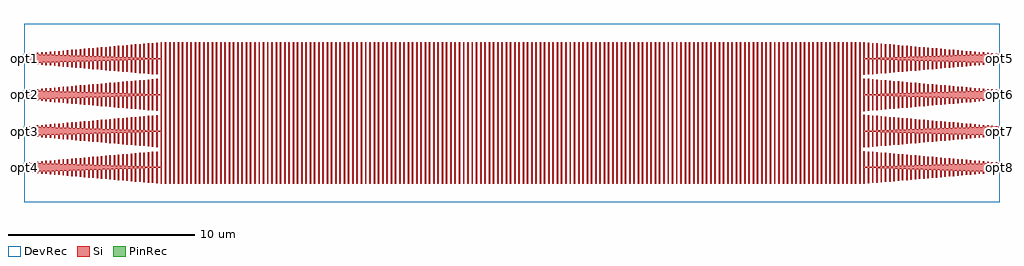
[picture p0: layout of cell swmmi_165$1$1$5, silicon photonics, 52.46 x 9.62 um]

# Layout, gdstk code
import gdstk
lib = gdstk.Library(unit=1e-6, precision=1e-09)
def R(c, l, rs):  # rectangles x0, y0, x1, y1
    for r in rs: c.add(gdstk.rectangle(r[:2], r[2:], *l))
def P(c, l, *ps):  # polygons
    for p in ps: c.add(gdstk.Polygon(p, *l))
Si = (1, 0)
PinRec = (1, 10)
DevRec = (68, 0)

tapered_rung_13b2f8a4_2_ = lib.new_cell('tapered_rung_13b2f8a4$2$1$5')
R(tapered_rung_13b2f8a4_2_, Si, [(0,-0.01,0.079,7.61)])

straight_4dba03ce_2_1_5 = lib.new_cell('straight_4dba03ce$2$1$5')
R(straight_4dba03ce_2_1_5, Si, [(0,-0.875,0.079,0.875)])

straight_02d3a096_2_1_5 = lib.new_cell('straight_02d3a096$2$1$5')
R(straight_02d3a096_2_1_5, Si, [(0,-0.855,0.079,0.855)])

straight_fb1c9b6e_2_1_5 = lib.new_cell('straight_fb1c9b6e$2$1$5')
R(straight_fb1c9b6e_2_1_5, Si, [(0,-0.836,0.079,0.836)])

straight_5bfd06b2_2_1_5 = lib.new_cell('straight_5bfd06b2$2$1$5')
R(straight_5bfd06b2_2_1_5, Si, [(0,-0.816,0.079,0.816)])

straight_1d78e075_2_1_5 = lib.new_cell('straight_1d78e075$2$1$5')
R(straight_1d78e075_2_1_5, Si, [(0,-0.797,0.079,0.797)])

straight_4a068241_2_1_5 = lib.new_cell('straight_4a068241$2$1$5')
R(straight_4a068241_2_1_5, Si, [(0,-0.777,0.079,0.777)])

straight_e533b238_2_1_5 = lib.new_cell('straight_e533b238$2$1$5')
R(straight_e533b238_2_1_5, Si, [(0,-0.758,0.079,0.758)])

straight_9c4e17f1_2_1_5 = lib.new_cell('straight_9c4e17f1$2$1$5')
R(straight_9c4e17f1_2_1_5, Si, [(0,-0.738,0.079,0.738)])

straight_84e6302c_2_1_5 = lib.new_cell('straight_84e6302c$2$1$5')
R(straight_84e6302c_2_1_5, Si, [(0,-0.719,0.079,0.719)])

straight_f7d1fc65_2_1_5 = lib.new_cell('straight_f7d1fc65$2$1$5')
R(straight_f7d1fc65_2_1_5, Si, [(0,-0.699,0.079,0.699)])

straight_6d488178_2_1_5 = lib.new_cell('straight_6d488178$2$1$5')
R(straight_6d488178_2_1_5, Si, [(0,-0.68,0.079,0.68)])

straight_5ea3cd06_2_1_5 = lib.new_cell('straight_5ea3cd06$2$1$5')
R(straight_5ea3cd06_2_1_5, Si, [(0,-0.66,0.079,0.66)])

straight_2c39bc87_2_1_5 = lib.new_cell('straight_2c39bc87$2$1$5')
R(straight_2c39bc87_2_1_5, Si, [(0,-0.641,0.079,0.641)])

straight_09bb2c49_2_1_5 = lib.new_cell('straight_09bb2c49$2$1$5')
R(straight_09bb2c49_2_1_5, Si, [(0,-0.621,0.079,0.621)])

straight_8f11f37e_2_1_5 = lib.new_cell('straight_8f11f37e$2$1$5')
R(straight_8f11f37e_2_1_5, Si, [(0,-0.602,0.079,0.602)])

straight_4b066b60_2_1_5 = lib.new_cell('straight_4b066b60$2$1$5')
R(straight_4b066b60_2_1_5, Si, [(0,-0.582,0.079,0.582)])

straight_b793d578_2_1_5 = lib.new_cell('straight_b793d578$2$1$5')
R(straight_b793d578_2_1_5, Si, [(0,-0.562,0.079,0.562)])

straight_ebca209d_2_1_5 = lib.new_cell('straight_ebca209d$2$1$5')
R(straight_ebca209d_2_1_5, Si, [(0,-0.543,0.079,0.543)])

straight_5dc137b4_2_1_5 = lib.new_cell('straight_5dc137b4$2$1$5')
R(straight_5dc137b4_2_1_5, Si, [(0,-0.523,0.079,0.523)])

straight_2d9b7ab2_2_1_5 = lib.new_cell('straight_2d9b7ab2$2$1$5')
R(straight_2d9b7ab2_2_1_5, Si, [(0,-0.504,0.079,0.504)])

straight_e69af71d_2_1_5 = lib.new_cell('straight_e69af71d$2$1$5')
R(straight_e69af71d_2_1_5, Si, [(0,-0.484,0.079,0.484)])

straight_17e9a650_2_1_5 = lib.new_cell('straight_17e9a650$2$1$5')
R(straight_17e9a650_2_1_5, Si, [(0,-0.465,0.079,0.465)])

straight_4a13c587_2_1_5 = lib.new_cell('straight_4a13c587$2$1$5')
R(straight_4a13c587_2_1_5, Si, [(0,-0.445,0.079,0.445)])

straight_dc194b24_2_1_5 = lib.new_cell('straight_dc194b24$2$1$5')
R(straight_dc194b24_2_1_5, Si, [(0,-0.426,0.079,0.426)])

straight_168b5256_2_1_5 = lib.new_cell('straight_168b5256$2$1$5')
R(straight_168b5256_2_1_5, Si, [(0,-0.406,0.079,0.406)])

straight_95e26ac4_2_1_5 = lib.new_cell('straight_95e26ac4$2$1$5')
R(straight_95e26ac4_2_1_5, Si, [(0,-0.387,0.079,0.387)])

straight_c8e52362_2_1_5 = lib.new_cell('straight_c8e52362$2$1$5')
R(straight_c8e52362_2_1_5, Si, [(0,-0.367,0.079,0.367)])

straight_d18412fd_2_1_5 = lib.new_cell('straight_d18412fd$2$1$5')
R(straight_d18412fd_2_1_5, Si, [(0,-0.348,0.079,0.348)])

straight_ae37b892_2_1_5 = lib.new_cell('straight_ae37b892$2$1$5')
R(straight_ae37b892_2_1_5, Si, [(0,-0.328,0.079,0.328)])

straight_69e23213_2_1_5 = lib.new_cell('straight_69e23213$2$1$5')
R(straight_69e23213_2_1_5, Si, [(0,-0.309,0.079,0.309)])

straight_e8bbdc83_2_1_5 = lib.new_cell('straight_e8bbdc83$2$1$5')
R(straight_e8bbdc83_2_1_5, Si, [(0,-0.289,0.079,0.289)])

straight_58eb0652_2_1_5 = lib.new_cell('straight_58eb0652$2$1$5')
R(straight_58eb0652_2_1_5, Si, [(0,-0.27,0.079,0.27)])

straight_2cb6a0ad_2_1_5 = lib.new_cell('straight_2cb6a0ad$2$1$5')
R(straight_2cb6a0ad_2_1_5, Si, [(0,-0.25,0.079,0.25)])

straight_a7162a93_2_1_5 = lib.new_cell('straight_a7162a93$2$1$5')
R(straight_a7162a93_2_1_5, Si, [(0,-0.387,0.079,0.387)])

swmmi_165_1_1_5 = lib.new_cell('swmmi_165$1$1$5')
P(swmmi_165_1_1_5, Si, [(0,-3.175),(0,-2.675),(7.328,-2.895),(7.328,-2.955)],
  [(0,-1.225),(0,-0.725),(7.328,-0.945),(7.328,-1.005)],
  [(0,0.725),(0,1.225),(7.328,1.005),(7.328,0.945)],
  [(0,2.675),(0,3.175),(7.328,2.955),(7.328,2.895)],
  [(52.441,-3.175),(45.113,-2.955),(45.113,-2.895),(52.441,-2.675)],
  [(52.441,-1.225),(45.113,-1.005),(45.113,-0.945),(52.441,-0.725)],
  [(52.441,0.725),(45.113,0.945),(45.113,1.005),(52.441,1.225)],
  [(52.441,2.675),(45.113,2.895),(45.113,2.955),(52.441,3.175)])
R(swmmi_165_1_1_5, DevRec, [(0,-4.81,52.441,4.81)])
swmmi_165_1_1_5.add(gdstk.FlexPath([(0.01,2.925),(-0.01,2.925)], 0.5, ends="flush", simple_path=True, layer=1, datatype=10))  # PinRec
swmmi_165_1_1_5.add(gdstk.FlexPath([(0.01,0.975),(-0.01,0.975)], 0.5, ends="flush", simple_path=True, layer=1, datatype=10))  # PinRec
swmmi_165_1_1_5.add(gdstk.FlexPath([(0.01,-0.975),(-0.01,-0.975)], 0.5, ends="flush", simple_path=True, layer=1, datatype=10))  # PinRec
swmmi_165_1_1_5.add(gdstk.FlexPath([(0.01,-2.925),(-0.01,-2.925)], 0.5, ends="flush", simple_path=True, layer=1, datatype=10))  # PinRec
swmmi_165_1_1_5.add(gdstk.FlexPath([(52.431,2.925),(52.451,2.925)], 0.5, ends="flush", simple_path=True, layer=1, datatype=10))  # PinRec
swmmi_165_1_1_5.add(gdstk.FlexPath([(52.431,0.975),(52.451,0.975)], 0.5, ends="flush", simple_path=True, layer=1, datatype=10))  # PinRec
swmmi_165_1_1_5.add(gdstk.FlexPath([(52.431,-0.975),(52.451,-0.975)], 0.5, ends="flush", simple_path=True, layer=1, datatype=10))  # PinRec
swmmi_165_1_1_5.add(gdstk.FlexPath([(52.431,-2.925),(52.451,-2.925)], 0.5, ends="flush", simple_path=True, layer=1, datatype=10))  # PinRec
swmmi_165_1_1_5.add(gdstk.Reference(tapered_rung_13b2f8a4_2_, (26.106,-3.8)))
swmmi_165_1_1_5.add(gdstk.Reference(tapered_rung_13b2f8a4_2_, (26.335,-3.8)))
swmmi_165_1_1_5.add(gdstk.Reference(tapered_rung_13b2f8a4_2_, (26.564,-3.8)))
swmmi_165_1_1_5.add(gdstk.Reference(tapered_rung_13b2f8a4_2_, (26.793,-3.8)))
swmmi_165_1_1_5.add(gdstk.Reference(tapered_rung_13b2f8a4_2_, (27.022,-3.8)))
swmmi_165_1_1_5.add(gdstk.Reference(tapered_rung_13b2f8a4_2_, (27.251,-3.8)))
swmmi_165_1_1_5.add(gdstk.Reference(tapered_rung_13b2f8a4_2_, (27.48,-3.8)))
swmmi_165_1_1_5.add(gdstk.Reference(tapered_rung_13b2f8a4_2_, (27.709,-3.8)))
swmmi_165_1_1_5.add(gdstk.Reference(tapered_rung_13b2f8a4_2_, (27.938,-3.8)))
swmmi_165_1_1_5.add(gdstk.Reference(tapered_rung_13b2f8a4_2_, (28.167,-3.8)))
swmmi_165_1_1_5.add(gdstk.Reference(tapered_rung_13b2f8a4_2_, (28.396,-3.8)))
swmmi_165_1_1_5.add(gdstk.Reference(tapered_rung_13b2f8a4_2_, (28.625,-3.8)))
swmmi_165_1_1_5.add(gdstk.Reference(tapered_rung_13b2f8a4_2_, (28.854,-3.8)))
swmmi_165_1_1_5.add(gdstk.Reference(tapered_rung_13b2f8a4_2_, (29.083,-3.8)))
swmmi_165_1_1_5.add(gdstk.Reference(tapered_rung_13b2f8a4_2_, (29.312,-3.8)))
swmmi_165_1_1_5.add(gdstk.Reference(tapered_rung_13b2f8a4_2_, (29.541,-3.8)))
swmmi_165_1_1_5.add(gdstk.Reference(tapered_rung_13b2f8a4_2_, (29.77,-3.8)))
swmmi_165_1_1_5.add(gdstk.Reference(tapered_rung_13b2f8a4_2_, (29.999,-3.8)))
swmmi_165_1_1_5.add(gdstk.Reference(tapered_rung_13b2f8a4_2_, (30.228,-3.8)))
swmmi_165_1_1_5.add(gdstk.Reference(tapered_rung_13b2f8a4_2_, (30.457,-3.8)))
swmmi_165_1_1_5.add(gdstk.Reference(tapered_rung_13b2f8a4_2_, (30.686,-3.8)))
swmmi_165_1_1_5.add(gdstk.Reference(tapered_rung_13b2f8a4_2_, (30.915,-3.8)))
swmmi_165_1_1_5.add(gdstk.Reference(tapered_rung_13b2f8a4_2_, (31.144,-3.8)))
swmmi_165_1_1_5.add(gdstk.Reference(tapered_rung_13b2f8a4_2_, (31.373,-3.8)))
swmmi_165_1_1_5.add(gdstk.Reference(tapered_rung_13b2f8a4_2_, (31.602,-3.8)))
swmmi_165_1_1_5.add(gdstk.Reference(tapered_rung_13b2f8a4_2_, (31.831,-3.8)))
swmmi_165_1_1_5.add(gdstk.Reference(tapered_rung_13b2f8a4_2_, (32.06,-3.8)))
swmmi_165_1_1_5.add(gdstk.Reference(tapered_rung_13b2f8a4_2_, (32.289,-3.8)))
swmmi_165_1_1_5.add(gdstk.Reference(tapered_rung_13b2f8a4_2_, (32.518,-3.8)))
swmmi_165_1_1_5.add(gdstk.Reference(tapered_rung_13b2f8a4_2_, (32.747,-3.8)))
swmmi_165_1_1_5.add(gdstk.Reference(tapered_rung_13b2f8a4_2_, (32.976,-3.8)))
swmmi_165_1_1_5.add(gdstk.Reference(tapered_rung_13b2f8a4_2_, (33.205,-3.8)))
swmmi_165_1_1_5.add(gdstk.Reference(tapered_rung_13b2f8a4_2_, (33.434,-3.8)))
swmmi_165_1_1_5.add(gdstk.Reference(tapered_rung_13b2f8a4_2_, (33.663,-3.8)))
swmmi_165_1_1_5.add(gdstk.Reference(tapered_rung_13b2f8a4_2_, (33.892,-3.8)))
swmmi_165_1_1_5.add(gdstk.Reference(tapered_rung_13b2f8a4_2_, (34.121,-3.8)))
swmmi_165_1_1_5.add(gdstk.Reference(tapered_rung_13b2f8a4_2_, (34.35,-3.8)))
swmmi_165_1_1_5.add(gdstk.Reference(tapered_rung_13b2f8a4_2_, (34.579,-3.8)))
swmmi_165_1_1_5.add(gdstk.Reference(tapered_rung_13b2f8a4_2_, (34.808,-3.8)))
swmmi_165_1_1_5.add(gdstk.Reference(tapered_rung_13b2f8a4_2_, (35.037,-3.8)))
swmmi_165_1_1_5.add(gdstk.Reference(tapered_rung_13b2f8a4_2_, (35.266,-3.8)))
swmmi_165_1_1_5.add(gdstk.Reference(tapered_rung_13b2f8a4_2_, (35.495,-3.8)))
swmmi_165_1_1_5.add(gdstk.Reference(tapered_rung_13b2f8a4_2_, (35.724,-3.8)))
swmmi_165_1_1_5.add(gdstk.Reference(tapered_rung_13b2f8a4_2_, (35.953,-3.8)))
swmmi_165_1_1_5.add(gdstk.Reference(tapered_rung_13b2f8a4_2_, (36.182,-3.8)))
swmmi_165_1_1_5.add(gdstk.Reference(tapered_rung_13b2f8a4_2_, (36.411,-3.8)))
swmmi_165_1_1_5.add(gdstk.Reference(tapered_rung_13b2f8a4_2_, (36.64,-3.8)))
swmmi_165_1_1_5.add(gdstk.Reference(tapered_rung_13b2f8a4_2_, (36.869,-3.8)))
swmmi_165_1_1_5.add(gdstk.Reference(tapered_rung_13b2f8a4_2_, (37.098,-3.8)))
swmmi_165_1_1_5.add(gdstk.Reference(tapered_rung_13b2f8a4_2_, (37.327,-3.8)))
swmmi_165_1_1_5.add(gdstk.Reference(tapered_rung_13b2f8a4_2_, (37.556,-3.8)))
swmmi_165_1_1_5.add(gdstk.Reference(tapered_rung_13b2f8a4_2_, (37.785,-3.8)))
swmmi_165_1_1_5.add(gdstk.Reference(tapered_rung_13b2f8a4_2_, (38.014,-3.8)))
swmmi_165_1_1_5.add(gdstk.Reference(tapered_rung_13b2f8a4_2_, (38.243,-3.8)))
swmmi_165_1_1_5.add(gdstk.Reference(tapered_rung_13b2f8a4_2_, (38.472,-3.8)))
swmmi_165_1_1_5.add(gdstk.Reference(tapered_rung_13b2f8a4_2_, (38.701,-3.8)))
swmmi_165_1_1_5.add(gdstk.Reference(tapered_rung_13b2f8a4_2_, (38.93,-3.8)))
swmmi_165_1_1_5.add(gdstk.Reference(tapered_rung_13b2f8a4_2_, (39.159,-3.8)))
swmmi_165_1_1_5.add(gdstk.Reference(tapered_rung_13b2f8a4_2_, (39.388,-3.8)))
swmmi_165_1_1_5.add(gdstk.Reference(tapered_rung_13b2f8a4_2_, (39.617,-3.8)))
swmmi_165_1_1_5.add(gdstk.Reference(tapered_rung_13b2f8a4_2_, (39.846,-3.8)))
swmmi_165_1_1_5.add(gdstk.Reference(tapered_rung_13b2f8a4_2_, (40.075,-3.8)))
swmmi_165_1_1_5.add(gdstk.Reference(tapered_rung_13b2f8a4_2_, (40.304,-3.8)))
swmmi_165_1_1_5.add(gdstk.Reference(tapered_rung_13b2f8a4_2_, (40.533,-3.8)))
swmmi_165_1_1_5.add(gdstk.Reference(tapered_rung_13b2f8a4_2_, (40.762,-3.8)))
swmmi_165_1_1_5.add(gdstk.Reference(tapered_rung_13b2f8a4_2_, (40.991,-3.8)))
swmmi_165_1_1_5.add(gdstk.Reference(tapered_rung_13b2f8a4_2_, (41.22,-3.8)))
swmmi_165_1_1_5.add(gdstk.Reference(tapered_rung_13b2f8a4_2_, (41.449,-3.8)))
swmmi_165_1_1_5.add(gdstk.Reference(tapered_rung_13b2f8a4_2_, (41.678,-3.8)))
swmmi_165_1_1_5.add(gdstk.Reference(tapered_rung_13b2f8a4_2_, (41.907,-3.8)))
swmmi_165_1_1_5.add(gdstk.Reference(tapered_rung_13b2f8a4_2_, (42.136,-3.8)))
swmmi_165_1_1_5.add(gdstk.Reference(tapered_rung_13b2f8a4_2_, (42.365,-3.8)))
swmmi_165_1_1_5.add(gdstk.Reference(tapered_rung_13b2f8a4_2_, (42.594,-3.8)))
swmmi_165_1_1_5.add(gdstk.Reference(tapered_rung_13b2f8a4_2_, (42.823,-3.8)))
swmmi_165_1_1_5.add(gdstk.Reference(tapered_rung_13b2f8a4_2_, (43.052,-3.8)))
swmmi_165_1_1_5.add(gdstk.Reference(tapered_rung_13b2f8a4_2_, (43.281,-3.8)))
swmmi_165_1_1_5.add(gdstk.Reference(tapered_rung_13b2f8a4_2_, (43.51,-3.8)))
swmmi_165_1_1_5.add(gdstk.Reference(tapered_rung_13b2f8a4_2_, (43.739,-3.8)))
swmmi_165_1_1_5.add(gdstk.Reference(tapered_rung_13b2f8a4_2_, (43.968,-3.8)))
swmmi_165_1_1_5.add(gdstk.Reference(tapered_rung_13b2f8a4_2_, (44.197,-3.8)))
swmmi_165_1_1_5.add(gdstk.Reference(tapered_rung_13b2f8a4_2_, (44.426,-3.8)))
swmmi_165_1_1_5.add(gdstk.Reference(tapered_rung_13b2f8a4_2_, (44.655,-3.8)))
swmmi_165_1_1_5.add(gdstk.Reference(tapered_rung_13b2f8a4_2_, (44.884,-3.8)))
swmmi_165_1_1_5.add(gdstk.Reference(straight_4dba03ce_2_1_5, (45.113,0.975)))
swmmi_165_1_1_5.add(gdstk.Reference(straight_02d3a096_2_1_5, (45.342,0.975)))
swmmi_165_1_1_5.add(gdstk.Reference(straight_fb1c9b6e_2_1_5, (45.571,0.975)))
swmmi_165_1_1_5.add(gdstk.Reference(straight_5bfd06b2_2_1_5, (45.8,0.975)))
swmmi_165_1_1_5.add(gdstk.Reference(straight_1d78e075_2_1_5, (46.029,0.975)))
swmmi_165_1_1_5.add(gdstk.Reference(straight_4a068241_2_1_5, (46.258,0.975)))
swmmi_165_1_1_5.add(gdstk.Reference(straight_e533b238_2_1_5, (46.487,0.975)))
swmmi_165_1_1_5.add(gdstk.Reference(straight_9c4e17f1_2_1_5, (46.716,0.975)))
swmmi_165_1_1_5.add(gdstk.Reference(straight_84e6302c_2_1_5, (46.945,0.975)))
swmmi_165_1_1_5.add(gdstk.Reference(straight_f7d1fc65_2_1_5, (47.174,0.975)))
swmmi_165_1_1_5.add(gdstk.Reference(straight_6d488178_2_1_5, (47.403,0.975)))
swmmi_165_1_1_5.add(gdstk.Reference(straight_5ea3cd06_2_1_5, (47.632,0.975)))
swmmi_165_1_1_5.add(gdstk.Reference(straight_2c39bc87_2_1_5, (47.861,0.975)))
swmmi_165_1_1_5.add(gdstk.Reference(straight_09bb2c49_2_1_5, (48.09,0.975)))
swmmi_165_1_1_5.add(gdstk.Reference(straight_8f11f37e_2_1_5, (48.319,0.975)))
swmmi_165_1_1_5.add(gdstk.Reference(straight_4b066b60_2_1_5, (48.548,0.975)))
swmmi_165_1_1_5.add(gdstk.Reference(straight_b793d578_2_1_5, (48.777,0.975)))
swmmi_165_1_1_5.add(gdstk.Reference(straight_ebca209d_2_1_5, (49.006,0.975)))
swmmi_165_1_1_5.add(gdstk.Reference(straight_5dc137b4_2_1_5, (49.235,0.975)))
swmmi_165_1_1_5.add(gdstk.Reference(straight_2d9b7ab2_2_1_5, (49.464,0.975)))
swmmi_165_1_1_5.add(gdstk.Reference(straight_e69af71d_2_1_5, (49.693,0.975)))
swmmi_165_1_1_5.add(gdstk.Reference(straight_17e9a650_2_1_5, (49.922,0.975)))
swmmi_165_1_1_5.add(gdstk.Reference(straight_4a13c587_2_1_5, (50.151,0.975)))
swmmi_165_1_1_5.add(gdstk.Reference(straight_dc194b24_2_1_5, (50.38,0.975)))
swmmi_165_1_1_5.add(gdstk.Reference(straight_168b5256_2_1_5, (50.609,0.975)))
swmmi_165_1_1_5.add(gdstk.Reference(straight_95e26ac4_2_1_5, (50.838,0.975)))
swmmi_165_1_1_5.add(gdstk.Reference(straight_c8e52362_2_1_5, (51.067,0.975)))
swmmi_165_1_1_5.add(gdstk.Reference(straight_d18412fd_2_1_5, (51.296,0.975)))
swmmi_165_1_1_5.add(gdstk.Reference(straight_ae37b892_2_1_5, (51.525,0.975)))
swmmi_165_1_1_5.add(gdstk.Reference(straight_69e23213_2_1_5, (51.754,0.975)))
swmmi_165_1_1_5.add(gdstk.Reference(straight_e8bbdc83_2_1_5, (51.983,0.975)))
swmmi_165_1_1_5.add(gdstk.Reference(straight_58eb0652_2_1_5, (52.212,0.975)))
swmmi_165_1_1_5.add(gdstk.Reference(straight_4dba03ce_2_1_5, (45.113,2.925)))
swmmi_165_1_1_5.add(gdstk.Reference(straight_02d3a096_2_1_5, (45.342,2.925)))
swmmi_165_1_1_5.add(gdstk.Reference(straight_fb1c9b6e_2_1_5, (45.571,2.925)))
swmmi_165_1_1_5.add(gdstk.Reference(straight_5bfd06b2_2_1_5, (45.8,2.925)))
swmmi_165_1_1_5.add(gdstk.Reference(straight_1d78e075_2_1_5, (46.029,2.925)))
swmmi_165_1_1_5.add(gdstk.Reference(straight_4a068241_2_1_5, (46.258,2.925)))
swmmi_165_1_1_5.add(gdstk.Reference(straight_e533b238_2_1_5, (46.487,2.925)))
swmmi_165_1_1_5.add(gdstk.Reference(straight_9c4e17f1_2_1_5, (46.716,2.925)))
swmmi_165_1_1_5.add(gdstk.Reference(straight_84e6302c_2_1_5, (46.945,2.925)))
swmmi_165_1_1_5.add(gdstk.Reference(straight_f7d1fc65_2_1_5, (47.174,2.925)))
swmmi_165_1_1_5.add(gdstk.Reference(straight_6d488178_2_1_5, (47.403,2.925)))
swmmi_165_1_1_5.add(gdstk.Reference(straight_5ea3cd06_2_1_5, (47.632,2.925)))
swmmi_165_1_1_5.add(gdstk.Reference(straight_2c39bc87_2_1_5, (47.861,2.925)))
swmmi_165_1_1_5.add(gdstk.Reference(straight_09bb2c49_2_1_5, (48.09,2.925)))
swmmi_165_1_1_5.add(gdstk.Reference(straight_8f11f37e_2_1_5, (48.319,2.925)))
swmmi_165_1_1_5.add(gdstk.Reference(straight_4b066b60_2_1_5, (48.548,2.925)))
swmmi_165_1_1_5.add(gdstk.Reference(straight_b793d578_2_1_5, (48.777,2.925)))
swmmi_165_1_1_5.add(gdstk.Reference(straight_ebca209d_2_1_5, (49.006,2.925)))
swmmi_165_1_1_5.add(gdstk.Reference(straight_5dc137b4_2_1_5, (49.235,2.925)))
swmmi_165_1_1_5.add(gdstk.Reference(straight_2d9b7ab2_2_1_5, (49.464,2.925)))
swmmi_165_1_1_5.add(gdstk.Reference(straight_e69af71d_2_1_5, (49.693,2.925)))
swmmi_165_1_1_5.add(gdstk.Reference(straight_17e9a650_2_1_5, (49.922,2.925)))
swmmi_165_1_1_5.add(gdstk.Reference(straight_4a13c587_2_1_5, (50.151,2.925)))
swmmi_165_1_1_5.add(gdstk.Reference(straight_dc194b24_2_1_5, (50.38,2.925)))
swmmi_165_1_1_5.add(gdstk.Reference(straight_168b5256_2_1_5, (50.609,2.925)))
swmmi_165_1_1_5.add(gdstk.Reference(straight_95e26ac4_2_1_5, (50.838,2.925)))
swmmi_165_1_1_5.add(gdstk.Reference(straight_c8e52362_2_1_5, (51.067,2.925)))
swmmi_165_1_1_5.add(gdstk.Reference(straight_d18412fd_2_1_5, (51.296,2.925)))
swmmi_165_1_1_5.add(gdstk.Reference(straight_ae37b892_2_1_5, (51.525,2.925)))
swmmi_165_1_1_5.add(gdstk.Reference(straight_69e23213_2_1_5, (51.754,2.925)))
swmmi_165_1_1_5.add(gdstk.Reference(straight_e8bbdc83_2_1_5, (51.983,2.925)))
swmmi_165_1_1_5.add(gdstk.Reference(straight_58eb0652_2_1_5, (52.212,2.925)))
swmmi_165_1_1_5.add(gdstk.Reference(straight_4dba03ce_2_1_5, (45.113,-2.925)))
swmmi_165_1_1_5.add(gdstk.Reference(straight_02d3a096_2_1_5, (45.342,-2.925)))
swmmi_165_1_1_5.add(gdstk.Reference(straight_fb1c9b6e_2_1_5, (45.571,-2.925)))
swmmi_165_1_1_5.add(gdstk.Reference(straight_5bfd06b2_2_1_5, (45.8,-2.925)))
swmmi_165_1_1_5.add(gdstk.Reference(straight_1d78e075_2_1_5, (46.029,-2.925)))
swmmi_165_1_1_5.add(gdstk.Reference(straight_4a068241_2_1_5, (46.258,-2.925)))
swmmi_165_1_1_5.add(gdstk.Reference(straight_e533b238_2_1_5, (46.487,-2.925)))
swmmi_165_1_1_5.add(gdstk.Reference(straight_9c4e17f1_2_1_5, (46.716,-2.925)))
swmmi_165_1_1_5.add(gdstk.Reference(straight_84e6302c_2_1_5, (46.945,-2.925)))
swmmi_165_1_1_5.add(gdstk.Reference(straight_f7d1fc65_2_1_5, (47.174,-2.925)))
swmmi_165_1_1_5.add(gdstk.Reference(straight_6d488178_2_1_5, (47.403,-2.925)))
swmmi_165_1_1_5.add(gdstk.Reference(straight_5ea3cd06_2_1_5, (47.632,-2.925)))
swmmi_165_1_1_5.add(gdstk.Reference(straight_2c39bc87_2_1_5, (47.861,-2.925)))
swmmi_165_1_1_5.add(gdstk.Reference(straight_09bb2c49_2_1_5, (48.09,-2.925)))
swmmi_165_1_1_5.add(gdstk.Reference(straight_8f11f37e_2_1_5, (48.319,-2.925)))
swmmi_165_1_1_5.add(gdstk.Reference(straight_4b066b60_2_1_5, (48.548,-2.925)))
swmmi_165_1_1_5.add(gdstk.Reference(straight_b793d578_2_1_5, (48.777,-2.925)))
swmmi_165_1_1_5.add(gdstk.Reference(straight_ebca209d_2_1_5, (49.006,-2.925)))
swmmi_165_1_1_5.add(gdstk.Reference(straight_5dc137b4_2_1_5, (49.235,-2.925)))
swmmi_165_1_1_5.add(gdstk.Reference(straight_2d9b7ab2_2_1_5, (49.464,-2.925)))
swmmi_165_1_1_5.add(gdstk.Reference(straight_e69af71d_2_1_5, (49.693,-2.925)))
swmmi_165_1_1_5.add(gdstk.Reference(straight_17e9a650_2_1_5, (49.922,-2.925)))
swmmi_165_1_1_5.add(gdstk.Reference(straight_4a13c587_2_1_5, (50.151,-2.925)))
swmmi_165_1_1_5.add(gdstk.Reference(straight_dc194b24_2_1_5, (50.38,-2.925)))
swmmi_165_1_1_5.add(gdstk.Reference(straight_168b5256_2_1_5, (50.609,-2.925)))
swmmi_165_1_1_5.add(gdstk.Reference(straight_95e26ac4_2_1_5, (50.838,-2.925)))
swmmi_165_1_1_5.add(gdstk.Reference(straight_c8e52362_2_1_5, (51.067,-2.925)))
swmmi_165_1_1_5.add(gdstk.Reference(straight_d18412fd_2_1_5, (51.296,-2.925)))
swmmi_165_1_1_5.add(gdstk.Reference(straight_ae37b892_2_1_5, (51.525,-2.925)))
swmmi_165_1_1_5.add(gdstk.Reference(straight_69e23213_2_1_5, (51.754,-2.925)))
swmmi_165_1_1_5.add(gdstk.Reference(straight_e8bbdc83_2_1_5, (51.983,-2.925)))
swmmi_165_1_1_5.add(gdstk.Reference(straight_58eb0652_2_1_5, (52.212,-2.925)))
swmmi_165_1_1_5.add(gdstk.Reference(straight_4dba03ce_2_1_5, (45.113,-0.975)))
swmmi_165_1_1_5.add(gdstk.Reference(straight_02d3a096_2_1_5, (45.342,-0.975)))
swmmi_165_1_1_5.add(gdstk.Reference(straight_fb1c9b6e_2_1_5, (45.571,-0.975)))
swmmi_165_1_1_5.add(gdstk.Reference(straight_5bfd06b2_2_1_5, (45.8,-0.975)))
swmmi_165_1_1_5.add(gdstk.Reference(straight_1d78e075_2_1_5, (46.029,-0.975)))
swmmi_165_1_1_5.add(gdstk.Reference(straight_4a068241_2_1_5, (46.258,-0.975)))
swmmi_165_1_1_5.add(gdstk.Reference(straight_e533b238_2_1_5, (46.487,-0.975)))
swmmi_165_1_1_5.add(gdstk.Reference(straight_9c4e17f1_2_1_5, (46.716,-0.975)))
swmmi_165_1_1_5.add(gdstk.Reference(straight_84e6302c_2_1_5, (46.945,-0.975)))
swmmi_165_1_1_5.add(gdstk.Reference(straight_f7d1fc65_2_1_5, (47.174,-0.975)))
swmmi_165_1_1_5.add(gdstk.Reference(straight_6d488178_2_1_5, (47.403,-0.975)))
swmmi_165_1_1_5.add(gdstk.Reference(straight_5ea3cd06_2_1_5, (47.632,-0.975)))
swmmi_165_1_1_5.add(gdstk.Reference(straight_2c39bc87_2_1_5, (47.861,-0.975)))
swmmi_165_1_1_5.add(gdstk.Reference(straight_09bb2c49_2_1_5, (48.09,-0.975)))
swmmi_165_1_1_5.add(gdstk.Reference(straight_8f11f37e_2_1_5, (48.319,-0.975)))
swmmi_165_1_1_5.add(gdstk.Reference(straight_4b066b60_2_1_5, (48.548,-0.975)))
swmmi_165_1_1_5.add(gdstk.Reference(straight_b793d578_2_1_5, (48.777,-0.975)))
swmmi_165_1_1_5.add(gdstk.Reference(straight_ebca209d_2_1_5, (49.006,-0.975)))
swmmi_165_1_1_5.add(gdstk.Reference(straight_5dc137b4_2_1_5, (49.235,-0.975)))
swmmi_165_1_1_5.add(gdstk.Reference(straight_2d9b7ab2_2_1_5, (49.464,-0.975)))
swmmi_165_1_1_5.add(gdstk.Reference(straight_e69af71d_2_1_5, (49.693,-0.975)))
swmmi_165_1_1_5.add(gdstk.Reference(straight_17e9a650_2_1_5, (49.922,-0.975)))
swmmi_165_1_1_5.add(gdstk.Reference(straight_4a13c587_2_1_5, (50.151,-0.975)))
swmmi_165_1_1_5.add(gdstk.Reference(straight_dc194b24_2_1_5, (50.38,-0.975)))
swmmi_165_1_1_5.add(gdstk.Reference(straight_168b5256_2_1_5, (50.609,-0.975)))
swmmi_165_1_1_5.add(gdstk.Reference(straight_95e26ac4_2_1_5, (50.838,-0.975)))
swmmi_165_1_1_5.add(gdstk.Reference(straight_c8e52362_2_1_5, (51.067,-0.975)))
swmmi_165_1_1_5.add(gdstk.Reference(straight_d18412fd_2_1_5, (51.296,-0.975)))
swmmi_165_1_1_5.add(gdstk.Reference(straight_ae37b892_2_1_5, (51.525,-0.975)))
swmmi_165_1_1_5.add(gdstk.Reference(straight_69e23213_2_1_5, (51.754,-0.975)))
swmmi_165_1_1_5.add(gdstk.Reference(straight_e8bbdc83_2_1_5, (51.983,-0.975)))
swmmi_165_1_1_5.add(gdstk.Reference(straight_58eb0652_2_1_5, (52.212,-0.975)))
swmmi_165_1_1_5.add(gdstk.Reference(tapered_rung_13b2f8a4_2_, (7.328,-3.8)))
swmmi_165_1_1_5.add(gdstk.Reference(tapered_rung_13b2f8a4_2_, (7.557,-3.8)))
swmmi_165_1_1_5.add(gdstk.Reference(tapered_rung_13b2f8a4_2_, (7.786,-3.8)))
swmmi_165_1_1_5.add(gdstk.Reference(tapered_rung_13b2f8a4_2_, (8.015,-3.8)))
swmmi_165_1_1_5.add(gdstk.Reference(tapered_rung_13b2f8a4_2_, (8.244,-3.8)))
swmmi_165_1_1_5.add(gdstk.Reference(tapered_rung_13b2f8a4_2_, (8.473,-3.8)))
swmmi_165_1_1_5.add(gdstk.Reference(tapered_rung_13b2f8a4_2_, (8.702,-3.8)))
swmmi_165_1_1_5.add(gdstk.Reference(tapered_rung_13b2f8a4_2_, (8.931,-3.8)))
swmmi_165_1_1_5.add(gdstk.Reference(tapered_rung_13b2f8a4_2_, (9.16,-3.8)))
swmmi_165_1_1_5.add(gdstk.Reference(tapered_rung_13b2f8a4_2_, (9.389,-3.8)))
swmmi_165_1_1_5.add(gdstk.Reference(tapered_rung_13b2f8a4_2_, (9.618,-3.8)))
swmmi_165_1_1_5.add(gdstk.Reference(tapered_rung_13b2f8a4_2_, (9.847,-3.8)))
swmmi_165_1_1_5.add(gdstk.Reference(tapered_rung_13b2f8a4_2_, (10.076,-3.8)))
swmmi_165_1_1_5.add(gdstk.Reference(tapered_rung_13b2f8a4_2_, (10.305,-3.8)))
swmmi_165_1_1_5.add(gdstk.Reference(tapered_rung_13b2f8a4_2_, (10.534,-3.8)))
swmmi_165_1_1_5.add(gdstk.Reference(tapered_rung_13b2f8a4_2_, (10.763,-3.8)))
swmmi_165_1_1_5.add(gdstk.Reference(tapered_rung_13b2f8a4_2_, (10.992,-3.8)))
swmmi_165_1_1_5.add(gdstk.Reference(tapered_rung_13b2f8a4_2_, (11.221,-3.8)))
swmmi_165_1_1_5.add(gdstk.Reference(tapered_rung_13b2f8a4_2_, (11.45,-3.8)))
swmmi_165_1_1_5.add(gdstk.Reference(tapered_rung_13b2f8a4_2_, (11.679,-3.8)))
swmmi_165_1_1_5.add(gdstk.Reference(tapered_rung_13b2f8a4_2_, (11.908,-3.8)))
swmmi_165_1_1_5.add(gdstk.Reference(tapered_rung_13b2f8a4_2_, (12.137,-3.8)))
swmmi_165_1_1_5.add(gdstk.Reference(tapered_rung_13b2f8a4_2_, (12.366,-3.8)))
swmmi_165_1_1_5.add(gdstk.Reference(tapered_rung_13b2f8a4_2_, (12.595,-3.8)))
swmmi_165_1_1_5.add(gdstk.Reference(tapered_rung_13b2f8a4_2_, (12.824,-3.8)))
swmmi_165_1_1_5.add(gdstk.Reference(tapered_rung_13b2f8a4_2_, (13.053,-3.8)))
swmmi_165_1_1_5.add(gdstk.Reference(tapered_rung_13b2f8a4_2_, (13.282,-3.8)))
swmmi_165_1_1_5.add(gdstk.Reference(tapered_rung_13b2f8a4_2_, (13.511,-3.8)))
swmmi_165_1_1_5.add(gdstk.Reference(tapered_rung_13b2f8a4_2_, (13.74,-3.8)))
swmmi_165_1_1_5.add(gdstk.Reference(tapered_rung_13b2f8a4_2_, (13.969,-3.8)))
swmmi_165_1_1_5.add(gdstk.Reference(tapered_rung_13b2f8a4_2_, (14.198,-3.8)))
swmmi_165_1_1_5.add(gdstk.Reference(tapered_rung_13b2f8a4_2_, (14.427,-3.8)))
swmmi_165_1_1_5.add(gdstk.Reference(tapered_rung_13b2f8a4_2_, (14.656,-3.8)))
swmmi_165_1_1_5.add(gdstk.Reference(tapered_rung_13b2f8a4_2_, (14.885,-3.8)))
swmmi_165_1_1_5.add(gdstk.Reference(tapered_rung_13b2f8a4_2_, (15.114,-3.8)))
swmmi_165_1_1_5.add(gdstk.Reference(tapered_rung_13b2f8a4_2_, (15.343,-3.8)))
swmmi_165_1_1_5.add(gdstk.Reference(tapered_rung_13b2f8a4_2_, (15.572,-3.8)))
swmmi_165_1_1_5.add(gdstk.Reference(tapered_rung_13b2f8a4_2_, (15.801,-3.8)))
swmmi_165_1_1_5.add(gdstk.Reference(tapered_rung_13b2f8a4_2_, (16.03,-3.8)))
swmmi_165_1_1_5.add(gdstk.Reference(tapered_rung_13b2f8a4_2_, (16.259,-3.8)))
swmmi_165_1_1_5.add(gdstk.Reference(tapered_rung_13b2f8a4_2_, (16.488,-3.8)))
swmmi_165_1_1_5.add(gdstk.Reference(tapered_rung_13b2f8a4_2_, (16.717,-3.8)))
swmmi_165_1_1_5.add(gdstk.Reference(tapered_rung_13b2f8a4_2_, (16.946,-3.8)))
swmmi_165_1_1_5.add(gdstk.Reference(tapered_rung_13b2f8a4_2_, (17.175,-3.8)))
swmmi_165_1_1_5.add(gdstk.Reference(tapered_rung_13b2f8a4_2_, (17.404,-3.8)))
swmmi_165_1_1_5.add(gdstk.Reference(tapered_rung_13b2f8a4_2_, (17.633,-3.8)))
swmmi_165_1_1_5.add(gdstk.Reference(tapered_rung_13b2f8a4_2_, (17.862,-3.8)))
swmmi_165_1_1_5.add(gdstk.Reference(tapered_rung_13b2f8a4_2_, (18.091,-3.8)))
swmmi_165_1_1_5.add(gdstk.Reference(tapered_rung_13b2f8a4_2_, (18.32,-3.8)))
swmmi_165_1_1_5.add(gdstk.Reference(tapered_rung_13b2f8a4_2_, (18.549,-3.8)))
swmmi_165_1_1_5.add(gdstk.Reference(tapered_rung_13b2f8a4_2_, (18.778,-3.8)))
swmmi_165_1_1_5.add(gdstk.Reference(tapered_rung_13b2f8a4_2_, (19.007,-3.8)))
swmmi_165_1_1_5.add(gdstk.Reference(tapered_rung_13b2f8a4_2_, (19.236,-3.8)))
swmmi_165_1_1_5.add(gdstk.Reference(tapered_rung_13b2f8a4_2_, (19.465,-3.8)))
swmmi_165_1_1_5.add(gdstk.Reference(tapered_rung_13b2f8a4_2_, (19.694,-3.8)))
swmmi_165_1_1_5.add(gdstk.Reference(tapered_rung_13b2f8a4_2_, (19.923,-3.8)))
swmmi_165_1_1_5.add(gdstk.Reference(tapered_rung_13b2f8a4_2_, (20.152,-3.8)))
swmmi_165_1_1_5.add(gdstk.Reference(tapered_rung_13b2f8a4_2_, (20.381,-3.8)))
swmmi_165_1_1_5.add(gdstk.Reference(tapered_rung_13b2f8a4_2_, (20.61,-3.8)))
swmmi_165_1_1_5.add(gdstk.Reference(tapered_rung_13b2f8a4_2_, (20.839,-3.8)))
swmmi_165_1_1_5.add(gdstk.Reference(tapered_rung_13b2f8a4_2_, (21.068,-3.8)))
swmmi_165_1_1_5.add(gdstk.Reference(tapered_rung_13b2f8a4_2_, (21.297,-3.8)))
swmmi_165_1_1_5.add(gdstk.Reference(tapered_rung_13b2f8a4_2_, (21.526,-3.8)))
swmmi_165_1_1_5.add(gdstk.Reference(tapered_rung_13b2f8a4_2_, (21.755,-3.8)))
swmmi_165_1_1_5.add(gdstk.Reference(tapered_rung_13b2f8a4_2_, (21.984,-3.8)))
swmmi_165_1_1_5.add(gdstk.Reference(tapered_rung_13b2f8a4_2_, (22.213,-3.8)))
swmmi_165_1_1_5.add(gdstk.Reference(tapered_rung_13b2f8a4_2_, (22.442,-3.8)))
swmmi_165_1_1_5.add(gdstk.Reference(tapered_rung_13b2f8a4_2_, (22.671,-3.8)))
swmmi_165_1_1_5.add(gdstk.Reference(tapered_rung_13b2f8a4_2_, (22.9,-3.8)))
swmmi_165_1_1_5.add(gdstk.Reference(tapered_rung_13b2f8a4_2_, (23.129,-3.8)))
swmmi_165_1_1_5.add(gdstk.Reference(tapered_rung_13b2f8a4_2_, (23.358,-3.8)))
swmmi_165_1_1_5.add(gdstk.Reference(tapered_rung_13b2f8a4_2_, (23.587,-3.8)))
swmmi_165_1_1_5.add(gdstk.Reference(tapered_rung_13b2f8a4_2_, (23.816,-3.8)))
swmmi_165_1_1_5.add(gdstk.Reference(tapered_rung_13b2f8a4_2_, (24.045,-3.8)))
swmmi_165_1_1_5.add(gdstk.Reference(tapered_rung_13b2f8a4_2_, (24.274,-3.8)))
swmmi_165_1_1_5.add(gdstk.Reference(tapered_rung_13b2f8a4_2_, (24.503,-3.8)))
swmmi_165_1_1_5.add(gdstk.Reference(tapered_rung_13b2f8a4_2_, (24.732,-3.8)))
swmmi_165_1_1_5.add(gdstk.Reference(tapered_rung_13b2f8a4_2_, (24.961,-3.8)))
swmmi_165_1_1_5.add(gdstk.Reference(tapered_rung_13b2f8a4_2_, (25.19,-3.8)))
swmmi_165_1_1_5.add(gdstk.Reference(tapered_rung_13b2f8a4_2_, (25.419,-3.8)))
swmmi_165_1_1_5.add(gdstk.Reference(tapered_rung_13b2f8a4_2_, (25.648,-3.8)))
swmmi_165_1_1_5.add(gdstk.Reference(tapered_rung_13b2f8a4_2_, (25.877,-3.8)))
swmmi_165_1_1_5.add(gdstk.Reference(straight_8f11f37e_2_1_5, (4.122,0.975)))
swmmi_165_1_1_5.add(gdstk.Reference(straight_09bb2c49_2_1_5, (4.351,0.975)))
swmmi_165_1_1_5.add(gdstk.Reference(straight_2c39bc87_2_1_5, (4.58,0.975)))
swmmi_165_1_1_5.add(gdstk.Reference(straight_5ea3cd06_2_1_5, (4.809,0.975)))
swmmi_165_1_1_5.add(gdstk.Reference(straight_6d488178_2_1_5, (5.038,0.975)))
swmmi_165_1_1_5.add(gdstk.Reference(straight_f7d1fc65_2_1_5, (5.267,0.975)))
swmmi_165_1_1_5.add(gdstk.Reference(straight_84e6302c_2_1_5, (5.496,0.975)))
swmmi_165_1_1_5.add(gdstk.Reference(straight_9c4e17f1_2_1_5, (5.725,0.975)))
swmmi_165_1_1_5.add(gdstk.Reference(straight_e533b238_2_1_5, (5.954,0.975)))
swmmi_165_1_1_5.add(gdstk.Reference(straight_4a068241_2_1_5, (6.183,0.975)))
swmmi_165_1_1_5.add(gdstk.Reference(straight_1d78e075_2_1_5, (6.412,0.975)))
swmmi_165_1_1_5.add(gdstk.Reference(straight_5bfd06b2_2_1_5, (6.641,0.975)))
swmmi_165_1_1_5.add(gdstk.Reference(straight_fb1c9b6e_2_1_5, (6.87,0.975)))
swmmi_165_1_1_5.add(gdstk.Reference(straight_02d3a096_2_1_5, (7.099,0.975)))
swmmi_165_1_1_5.add(gdstk.Reference(straight_2cb6a0ad_2_1_5, (0,2.925)))
swmmi_165_1_1_5.add(gdstk.Reference(straight_58eb0652_2_1_5, (0.229,2.925)))
swmmi_165_1_1_5.add(gdstk.Reference(straight_e8bbdc83_2_1_5, (0.458,2.925)))
swmmi_165_1_1_5.add(gdstk.Reference(straight_69e23213_2_1_5, (0.687,2.925)))
swmmi_165_1_1_5.add(gdstk.Reference(straight_ae37b892_2_1_5, (0.916,2.925)))
swmmi_165_1_1_5.add(gdstk.Reference(straight_d18412fd_2_1_5, (1.145,2.925)))
swmmi_165_1_1_5.add(gdstk.Reference(straight_c8e52362_2_1_5, (1.374,2.925)))
swmmi_165_1_1_5.add(gdstk.Reference(straight_a7162a93_2_1_5, (1.603,2.925)))
swmmi_165_1_1_5.add(gdstk.Reference(straight_168b5256_2_1_5, (1.832,2.925)))
swmmi_165_1_1_5.add(gdstk.Reference(straight_dc194b24_2_1_5, (2.061,2.925)))
swmmi_165_1_1_5.add(gdstk.Reference(straight_4a13c587_2_1_5, (2.29,2.925)))
swmmi_165_1_1_5.add(gdstk.Reference(straight_17e9a650_2_1_5, (2.519,2.925)))
swmmi_165_1_1_5.add(gdstk.Reference(straight_e69af71d_2_1_5, (2.748,2.925)))
swmmi_165_1_1_5.add(gdstk.Reference(straight_2d9b7ab2_2_1_5, (2.977,2.925)))
swmmi_165_1_1_5.add(gdstk.Reference(straight_5dc137b4_2_1_5, (3.206,2.925)))
swmmi_165_1_1_5.add(gdstk.Reference(straight_ebca209d_2_1_5, (3.435,2.925)))
swmmi_165_1_1_5.add(gdstk.Reference(straight_b793d578_2_1_5, (3.664,2.925)))
swmmi_165_1_1_5.add(gdstk.Reference(straight_4b066b60_2_1_5, (3.893,2.925)))
swmmi_165_1_1_5.add(gdstk.Reference(straight_8f11f37e_2_1_5, (4.122,2.925)))
swmmi_165_1_1_5.add(gdstk.Reference(straight_09bb2c49_2_1_5, (4.351,2.925)))
swmmi_165_1_1_5.add(gdstk.Reference(straight_2c39bc87_2_1_5, (4.58,2.925)))
swmmi_165_1_1_5.add(gdstk.Reference(straight_5ea3cd06_2_1_5, (4.809,2.925)))
swmmi_165_1_1_5.add(gdstk.Reference(straight_6d488178_2_1_5, (5.038,2.925)))
swmmi_165_1_1_5.add(gdstk.Reference(straight_f7d1fc65_2_1_5, (5.267,2.925)))
swmmi_165_1_1_5.add(gdstk.Reference(straight_84e6302c_2_1_5, (5.496,2.925)))
swmmi_165_1_1_5.add(gdstk.Reference(straight_9c4e17f1_2_1_5, (5.725,2.925)))
swmmi_165_1_1_5.add(gdstk.Reference(straight_e533b238_2_1_5, (5.954,2.925)))
swmmi_165_1_1_5.add(gdstk.Reference(straight_4a068241_2_1_5, (6.183,2.925)))
swmmi_165_1_1_5.add(gdstk.Reference(straight_1d78e075_2_1_5, (6.412,2.925)))
swmmi_165_1_1_5.add(gdstk.Reference(straight_5bfd06b2_2_1_5, (6.641,2.925)))
swmmi_165_1_1_5.add(gdstk.Reference(straight_fb1c9b6e_2_1_5, (6.87,2.925)))
swmmi_165_1_1_5.add(gdstk.Reference(straight_02d3a096_2_1_5, (7.099,2.925)))
swmmi_165_1_1_5.add(gdstk.Reference(straight_2cb6a0ad_2_1_5, (0,0.975)))
swmmi_165_1_1_5.add(gdstk.Reference(straight_58eb0652_2_1_5, (0.229,0.975)))
swmmi_165_1_1_5.add(gdstk.Reference(straight_e8bbdc83_2_1_5, (0.458,0.975)))
swmmi_165_1_1_5.add(gdstk.Reference(straight_69e23213_2_1_5, (0.687,0.975)))
swmmi_165_1_1_5.add(gdstk.Reference(straight_ae37b892_2_1_5, (0.916,0.975)))
swmmi_165_1_1_5.add(gdstk.Reference(straight_d18412fd_2_1_5, (1.145,0.975)))
swmmi_165_1_1_5.add(gdstk.Reference(straight_c8e52362_2_1_5, (1.374,0.975)))
swmmi_165_1_1_5.add(gdstk.Reference(straight_a7162a93_2_1_5, (1.603,0.975)))
swmmi_165_1_1_5.add(gdstk.Reference(straight_168b5256_2_1_5, (1.832,0.975)))
swmmi_165_1_1_5.add(gdstk.Reference(straight_dc194b24_2_1_5, (2.061,0.975)))
swmmi_165_1_1_5.add(gdstk.Reference(straight_4a13c587_2_1_5, (2.29,0.975)))
swmmi_165_1_1_5.add(gdstk.Reference(straight_17e9a650_2_1_5, (2.519,0.975)))
swmmi_165_1_1_5.add(gdstk.Reference(straight_e69af71d_2_1_5, (2.748,0.975)))
swmmi_165_1_1_5.add(gdstk.Reference(straight_2d9b7ab2_2_1_5, (2.977,0.975)))
swmmi_165_1_1_5.add(gdstk.Reference(straight_5dc137b4_2_1_5, (3.206,0.975)))
swmmi_165_1_1_5.add(gdstk.Reference(straight_ebca209d_2_1_5, (3.435,0.975)))
swmmi_165_1_1_5.add(gdstk.Reference(straight_b793d578_2_1_5, (3.664,0.975)))
swmmi_165_1_1_5.add(gdstk.Reference(straight_4b066b60_2_1_5, (3.893,0.975)))
swmmi_165_1_1_5.add(gdstk.Reference(straight_5ea3cd06_2_1_5, (4.809,-2.925)))
swmmi_165_1_1_5.add(gdstk.Reference(straight_6d488178_2_1_5, (5.038,-2.925)))
swmmi_165_1_1_5.add(gdstk.Reference(straight_f7d1fc65_2_1_5, (5.267,-2.925)))
swmmi_165_1_1_5.add(gdstk.Reference(straight_84e6302c_2_1_5, (5.496,-2.925)))
swmmi_165_1_1_5.add(gdstk.Reference(straight_9c4e17f1_2_1_5, (5.725,-2.925)))
swmmi_165_1_1_5.add(gdstk.Reference(straight_e533b238_2_1_5, (5.954,-2.925)))
swmmi_165_1_1_5.add(gdstk.Reference(straight_4a068241_2_1_5, (6.183,-2.925)))
swmmi_165_1_1_5.add(gdstk.Reference(straight_1d78e075_2_1_5, (6.412,-2.925)))
swmmi_165_1_1_5.add(gdstk.Reference(straight_5bfd06b2_2_1_5, (6.641,-2.925)))
swmmi_165_1_1_5.add(gdstk.Reference(straight_fb1c9b6e_2_1_5, (6.87,-2.925)))
swmmi_165_1_1_5.add(gdstk.Reference(straight_02d3a096_2_1_5, (7.099,-2.925)))
swmmi_165_1_1_5.add(gdstk.Reference(straight_2cb6a0ad_2_1_5, (0,-0.975)))
swmmi_165_1_1_5.add(gdstk.Reference(straight_58eb0652_2_1_5, (0.229,-0.975)))
swmmi_165_1_1_5.add(gdstk.Reference(straight_e8bbdc83_2_1_5, (0.458,-0.975)))
swmmi_165_1_1_5.add(gdstk.Reference(straight_69e23213_2_1_5, (0.687,-0.975)))
swmmi_165_1_1_5.add(gdstk.Reference(straight_ae37b892_2_1_5, (0.916,-0.975)))
swmmi_165_1_1_5.add(gdstk.Reference(straight_d18412fd_2_1_5, (1.145,-0.975)))
swmmi_165_1_1_5.add(gdstk.Reference(straight_c8e52362_2_1_5, (1.374,-0.975)))
swmmi_165_1_1_5.add(gdstk.Reference(straight_a7162a93_2_1_5, (1.603,-0.975)))
swmmi_165_1_1_5.add(gdstk.Reference(straight_168b5256_2_1_5, (1.832,-0.975)))
swmmi_165_1_1_5.add(gdstk.Reference(straight_dc194b24_2_1_5, (2.061,-0.975)))
swmmi_165_1_1_5.add(gdstk.Reference(straight_4a13c587_2_1_5, (2.29,-0.975)))
swmmi_165_1_1_5.add(gdstk.Reference(straight_17e9a650_2_1_5, (2.519,-0.975)))
swmmi_165_1_1_5.add(gdstk.Reference(straight_e69af71d_2_1_5, (2.748,-0.975)))
swmmi_165_1_1_5.add(gdstk.Reference(straight_2d9b7ab2_2_1_5, (2.977,-0.975)))
swmmi_165_1_1_5.add(gdstk.Reference(straight_5dc137b4_2_1_5, (3.206,-0.975)))
swmmi_165_1_1_5.add(gdstk.Reference(straight_ebca209d_2_1_5, (3.435,-0.975)))
swmmi_165_1_1_5.add(gdstk.Reference(straight_b793d578_2_1_5, (3.664,-0.975)))
swmmi_165_1_1_5.add(gdstk.Reference(straight_4b066b60_2_1_5, (3.893,-0.975)))
swmmi_165_1_1_5.add(gdstk.Reference(straight_8f11f37e_2_1_5, (4.122,-0.975)))
swmmi_165_1_1_5.add(gdstk.Reference(straight_09bb2c49_2_1_5, (4.351,-0.975)))
swmmi_165_1_1_5.add(gdstk.Reference(straight_2c39bc87_2_1_5, (4.58,-0.975)))
swmmi_165_1_1_5.add(gdstk.Reference(straight_5ea3cd06_2_1_5, (4.809,-0.975)))
swmmi_165_1_1_5.add(gdstk.Reference(straight_6d488178_2_1_5, (5.038,-0.975)))
swmmi_165_1_1_5.add(gdstk.Reference(straight_f7d1fc65_2_1_5, (5.267,-0.975)))
swmmi_165_1_1_5.add(gdstk.Reference(straight_84e6302c_2_1_5, (5.496,-0.975)))
swmmi_165_1_1_5.add(gdstk.Reference(straight_9c4e17f1_2_1_5, (5.725,-0.975)))
swmmi_165_1_1_5.add(gdstk.Reference(straight_e533b238_2_1_5, (5.954,-0.975)))
swmmi_165_1_1_5.add(gdstk.Reference(straight_4a068241_2_1_5, (6.183,-0.975)))
swmmi_165_1_1_5.add(gdstk.Reference(straight_1d78e075_2_1_5, (6.412,-0.975)))
swmmi_165_1_1_5.add(gdstk.Reference(straight_5bfd06b2_2_1_5, (6.641,-0.975)))
swmmi_165_1_1_5.add(gdstk.Reference(straight_fb1c9b6e_2_1_5, (6.87,-0.975)))
swmmi_165_1_1_5.add(gdstk.Reference(straight_02d3a096_2_1_5, (7.099,-0.975)))
swmmi_165_1_1_5.add(gdstk.Reference(straight_58eb0652_2_1_5, (0.229,-2.925)))
swmmi_165_1_1_5.add(gdstk.Reference(straight_e8bbdc83_2_1_5, (0.458,-2.925)))
swmmi_165_1_1_5.add(gdstk.Reference(straight_69e23213_2_1_5, (0.687,-2.925)))
swmmi_165_1_1_5.add(gdstk.Reference(straight_ae37b892_2_1_5, (0.916,-2.925)))
swmmi_165_1_1_5.add(gdstk.Reference(straight_d18412fd_2_1_5, (1.145,-2.925)))
swmmi_165_1_1_5.add(gdstk.Reference(straight_c8e52362_2_1_5, (1.374,-2.925)))
swmmi_165_1_1_5.add(gdstk.Reference(straight_a7162a93_2_1_5, (1.603,-2.925)))
swmmi_165_1_1_5.add(gdstk.Reference(straight_168b5256_2_1_5, (1.832,-2.925)))
swmmi_165_1_1_5.add(gdstk.Reference(straight_dc194b24_2_1_5, (2.061,-2.925)))
swmmi_165_1_1_5.add(gdstk.Reference(straight_4a13c587_2_1_5, (2.29,-2.925)))
swmmi_165_1_1_5.add(gdstk.Reference(straight_17e9a650_2_1_5, (2.519,-2.925)))
swmmi_165_1_1_5.add(gdstk.Reference(straight_e69af71d_2_1_5, (2.748,-2.925)))
swmmi_165_1_1_5.add(gdstk.Reference(straight_2d9b7ab2_2_1_5, (2.977,-2.925)))
swmmi_165_1_1_5.add(gdstk.Reference(straight_5dc137b4_2_1_5, (3.206,-2.925)))
swmmi_165_1_1_5.add(gdstk.Reference(straight_ebca209d_2_1_5, (3.435,-2.925)))
swmmi_165_1_1_5.add(gdstk.Reference(straight_b793d578_2_1_5, (3.664,-2.925)))
swmmi_165_1_1_5.add(gdstk.Reference(straight_4b066b60_2_1_5, (3.893,-2.925)))
swmmi_165_1_1_5.add(gdstk.Reference(straight_8f11f37e_2_1_5, (4.122,-2.925)))
swmmi_165_1_1_5.add(gdstk.Reference(straight_09bb2c49_2_1_5, (4.351,-2.925)))
swmmi_165_1_1_5.add(gdstk.Reference(straight_2c39bc87_2_1_5, (4.58,-2.925)))
swmmi_165_1_1_5.add(gdstk.Reference(straight_2cb6a0ad_2_1_5, (0,-2.925)))
swmmi_165_1_1_5.add(gdstk.Label('opt1', (0,2.925), layer=1, texttype=10))
swmmi_165_1_1_5.add(gdstk.Label('opt2', (0,0.975), layer=1, texttype=10))
swmmi_165_1_1_5.add(gdstk.Label('opt3', (0,-0.975), layer=1, texttype=10))
swmmi_165_1_1_5.add(gdstk.Label('opt4', (0,-2.925), layer=1, texttype=10))
swmmi_165_1_1_5.add(gdstk.Label('opt5', (52.441,2.925), layer=1, texttype=10))
swmmi_165_1_1_5.add(gdstk.Label('opt6', (52.441,0.975), layer=1, texttype=10))
swmmi_165_1_1_5.add(gdstk.Label('opt7', (52.441,-0.975), layer=1, texttype=10))
swmmi_165_1_1_5.add(gdstk.Label('opt8', (52.441,-2.925), layer=1, texttype=10))

lib.write_gds('swmmi_165_1_1_5.gds')
